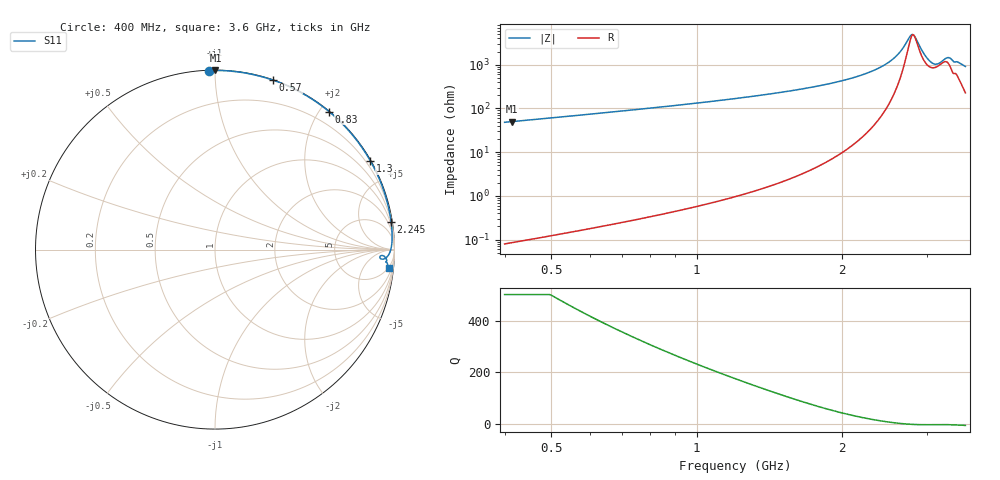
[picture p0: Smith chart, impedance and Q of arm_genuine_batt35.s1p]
! arm_genuine_batt35
! simulated by sim/rf_fdtd.py
# HZ S RI R 50
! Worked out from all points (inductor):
!   641 points, 400 MHz to 3.6 GHz, reference 50 ohm
!   read as one part to ground: L = 18.7 nH near 415 MHz
!   highest Q = 588 at 415 MHz (marker M1), where L = 19.2 nH
!   self-resonance near 2.813 GHz
!   S11 on the Smith chart (normalised r, x): 400 MHz: 0.00, +0.97; 570 MHz: 0.00, +1.40; 830 MHz: 0.01, +2.12; 1.3 GHz: 0.02, +3.77; 2.245 GHz: 1, +13; 3.6 GHz: 5, -18
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4e8  -0.0353 0.9977
4.15e8  0.00272 0.9983
4.9e8  0.174 0.9828
5.7e8  0.3238 0.9439
6.25e8  0.4094 0.9099
6.8e8  0.4829 0.8729
7.4e8  0.5515 0.8312
8e8  0.6097 0.7894
8.3e8  0.6355 0.7687
9.1e8  0.6953 0.715
1e9  0.7495 0.6577
1.095e9  0.7953 0.6014
1.2e9  0.8354 0.544
1.3e9  0.8659 0.4937
1.44e9  0.8991 0.4298
1.6e9  0.9272 0.3644
2e9  0.9686 0.2271
2.245e9  0.9812 0.1551
2.4e9  0.9855 0.1123
2.8e9  0.9803 0.00355
2.925e9  0.9663 -0.0309
3.03e9  0.942 -0.0519
3.125e9  0.9196 -0.047
3.2e9  0.9232 -0.0344
3.27e9  0.9392 -0.0352
3.35e9  0.9547 -0.0524
3.425e9  0.9514 -0.0688
3.6e9  0.9677 -0.1028
